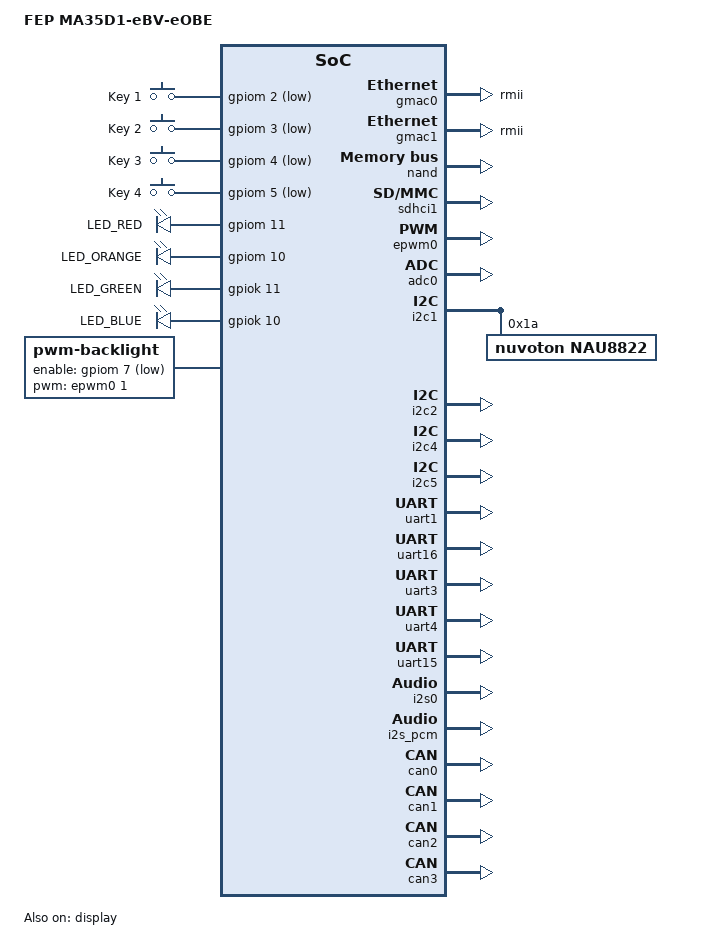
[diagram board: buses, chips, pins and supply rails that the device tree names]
/*
 * Device Tree Source for MA35D1 IoT Board
 *
 * Copyright (C) 2021 Nuvoton Technology Corp.
 *
 * The code contained herein is licensed under the GNU General Public
 * License. You may obtain a copy of the GNU General Public License
 * Version 2 or later at the following locations:
 *
 * http://www.opensource.org/licenses/gpl-license.html
 * http://www.gnu.org/copyleft/gpl.html
 */

/dts-v1/;

#include "ma35d1.dtsi"

/ {
	// model = "Nuvoton MA35D1-IoT";
	model = "FEP MA35D1-eBV-eOBE";

	chosen {
		bootargs = "root=/dev/mmcblk1p1 rootfstype=ext4 rw rootwait console=ttyS0,115200n8 rdinit=/sbin/init mem=512M";
	};

	gpio_keys_test {
		compatible = "gpio-keys";
		status = "okay";
		autorepeat;
		botton0 {
			label = "Key 1";
			linux,code = <KEY_1>;
			gpios = <&gpiom 2 GPIO_ACTIVE_LOW>;
			wakeup-source;
		};
		button1{
			label ="Key 2";
			linux,code = <KEY_2>;
			gpios = <&gpiom 3 GPIO_ACTIVE_LOW>;
			wakeup-source;
		};
		botton2 {
			label = "Key 3";
			linux,code = <KEY_3>;
			gpios = <&gpiom 4 GPIO_ACTIVE_LOW>;
			wakeup-source;
		};
		button3 {
			label ="Key 4";
			linux,code = <KEY_4>;
			gpios = <&gpiom 5 GPIO_ACTIVE_LOW>;
			wakeup-source;
		};
	};

	gpio_leds_test {
		compatible = "gpio-leds";
		status = "okay";
		led0 {
			label = "LED_RED";
			gpios = <&gpiom 11 GPIO_ACTIVE_HIGH>;
		};
		led1 {
			label = "LED_ORANGE";
			gpios = <&gpiom 10 GPIO_ACTIVE_HIGH>;
		};
		led2 {
			label = "LED_GREEN";
			gpios = <&gpiok 11 GPIO_ACTIVE_HIGH>;
		};
		led3 {
			label = "LED_BLUE";
			gpios = <&gpiok 10 GPIO_ACTIVE_HIGH>;
		};
	};

	gpio_power_control {
		status = "okay";
		wifi_power {
			gpios = <&gpion 0 GPIO_ACTIVE_LOW>;
		};
		lte_power {
			gpios = <&gpion 1 GPIO_ACTIVE_LOW>;
		};
		//pinctrl-names = "default";
		//pinctrl-0 = <&pcfg_default>;
	};

	backlight: backlight {
		compatible = "pwm-backlight";
		brightness-levels = <250 225 175 125 75 25>;
		default-brightness-level = <5>;
		pwms = <&epwm0 1 50000>;
		enable-gpios = <&gpiom 7 GPIO_ACTIVE_LOW>; // LCD_BLEn
		status = "okay";
        };

	volt0_sdhci1: regulator-volt0_sdhci1 {
		compatible = "nuvoton,ma35d1-volt";
		regulator-min-microvolt = <1800000>;
		regulator-max-microvolt = <3300000>;
		regulator-name = "volt0_sdhci1";
		regulator-always-on;
        };

	/*volt0_sdhci1: regulator-volt0_sdhci1 {
		compatible = "regulator-gpio";
		regulator-name = "volt1_sdhci1";
		regulator-min-microvolt = <1800000>;
		regulator-max-microvolt = <3300000>;
		gpios = <&gpion 11 GPIO_ACTIVE_HIGH>; // PN11
		gpios-states = <0>;
		states = <1800000 0x1 3300000 0x0>;
		enable-active-high;
		regulator-boot-on;
	};*/
};

&mem {
	device_type = "memory";
	reg = <0x00000000 0x80000000 0 0x20000000>; /* DRAM space - 1, size : 512MB DRAM */
};

/*&ccap0 {
        status = "disabled";
	port {
		// Parallel bus endpoint
		ccap0_1: endpoint {
			remote-endpoint = <&hm1055_0>;
			hsync-active = <0>;     // Active low
			vsync-active = <0>;     // Active low
			pclk-sample = <1>;      // Rising
		};
	};
};*/

/*&i2c_gpio0 {
	status = "disabled";
	hm1055@24 {
		compatible = "himax,hm1055";
		reg = <0x24>;
		pinctrl-names = "default";
		pinctrl-0 = <&pinctrl_ccap0>;
		clocks = <&clk CCAP0_GATE>;
		clock-names = "xclk";
		reset-gpios = <&gpiom 1 GPIO_ACTIVE_LOW>; // PM1
		powerdown-gpios = <&gpiok 8 GPIO_ACTIVE_HIGH>; // PK8
		port {
			hm1055_0: endpoint {
				remote-endpoint = <&ccap0_1>;
			};
		};
	};
};*/

&gmac0 {
	phy-mode = "rmii";
	pinctrl-names = "default";
	pinctrl-0 = <&pinctrl_emac0>;
	status = "okay";
};

&gmac1 {
	phy-mode = "rmii";
	pinctrl-names = "default";
	pinctrl-0 = <&pinctrl_emac1>;
	status = "okay";
};

&ehci0 {
	pinctrl-names = "default";
	pinctrl-0 = <&pinctrl_hsusbh>;
};

&usb {
	pinctrl-names = "default";
	pinctrl-0 = <&pinctrl_usb>;
};

&nand {
	status = "okay";
	pinctrl-names = "default";
	pinctrl-0 = <&pinctrl_nand>;
};

&sdhci1 {
	status = "okay";
	pinctrl-names = "default";
	pinctrl-0 = <&pinctrl_sdhci1_3_3V>;
	disable-wp;

	/*status = "okay";
	disable-wp;
	pinctrl-names = "sdhci_3V3","sdhci_1V8";
	pinctrl-0 = <&pinctrl_sdhci1_3_3V>;
	pinctrl-1 = <&pinctrl_sdhci1_1_8V>;
	vqmmc-supply = <&volt0_sdhci1>;
	power-gpios = <&gpion 14 GPIO_ACTIVE_LOW>; // PN14
	*/
};

&epwm0 {
	status = "okay";
	#pwm-cells = <2>;	
	pinctrl-names = "default";
	pinctrl-0 = <&pinctrl_epwm0>;
};

&adc0 {
	status = "okay";
	pinctrl-names = "default";
	pinctrl-0 = <&pinctrl_adc0>;
};

/*&i2c0 {
	status = "okay";
	pinctrl-names = "default";
	pinctrl-0 = <&pinctrl_i2c0>;
};*/

&i2c1 {
	status = "okay";
	pinctrl-names = "default";
	pinctrl-0 = <&pinctrl_i2c1>;

	#address-cells = <1>;
	#size-cells = <0>;
	nau8822: nau8822@1a {
		compatible = "nuvoton,nau8822";
		reg = <0x1a> ;
	};
};

&i2c2 {
	status = "okay";
	pinctrl-names = "default";
	pinctrl-0 = <&pinctrl_i2c2>;
};

&i2c4 {
	status = "okay";
	pinctrl-names = "default";
	pinctrl-0 = <&pinctrl_i2c4>;
};

&i2c5 {
	status = "okay";
	pinctrl-names = "default";
	pinctrl-0 = <&pinctrl_i2c5>;
};

&vc8k {
	status = "disabled";
};

&gc520l {
	status = "disabled";
};

&display {
	pinctrl-names = "default";
	pinctrl-0 = <&pinctrl_display0>;
	memory-region = <&display_buf>;
	status = "okay";
};

&uart1 {
	status = "okay";
	pinctrl-names = "default";
	pinctrl-0 = <&pinctrl_uart1>;
};

&uart16 {
	status = "okay";
	pinctrl-names = "default";
	pinctrl-0 = <&pinctrl_uart16>;
};

&uart3 {
	status = "okay";
	pinctrl-names = "default";
	pinctrl-0 = <&pinctrl_uart3>;
};

&uart4 {
	status = "okay";
	pinctrl-names = "default";
	pinctrl-0 = <&pinctrl_uart4>;
};

&uart15 {
	status = "okay";
	pinctrl-names = "default";
	pinctrl-0 = <&pinctrl_uart15>;
};

&i2s0 {
	status = "okay";
	pinctrl-names = "default";
	pinctrl-0 = <&pinctrl_i2s0>;
};

&i2s_pcm {
	status = "okay";
};

&sound {
	status = "okay";
};

/*&qspi0 {
	status = "disabled";
	pinctrl-names = "default";
	pinctrl-0 = <&pinctrl_qspi0>;
};*/

/*&spi0 {
	status = "disabled";
	pinctrl-names = "default";
	pinctrl-0 = <&pinctrl_spi0>;
};*/

/*&spi2 {
	status = "disabled";
	pinctrl-names = "default";
	pinctrl-0 = <&pinctrl_spi2>;
};*/

&can0 {
	status = "okay";
	pinctrl-names = "default";
	pinctrl-0 = <&pinctrl_can0>;
};

&can1 {
	status = "okay";
	pinctrl-names = "default";
	pinctrl-0 = <&pinctrl_can1>;
};

&can2 {
	status = "okay";
	pinctrl-names = "default";
	pinctrl-0 = <&pinctrl_can2>;
};

&can3 {
	status = "okay";
	pinctrl-names = "default";
	pinctrl-0 = <&pinctrl_can3>;
};

&pinctrl {
	gmac0 {
		pinctrl_gmac0: gmac0grp{
			nuvoton,pins =
				<SYS_GPE_MFPL_PE0MFP_RGMII0_MDC		&pcfg_emac_1_8V>,
				<SYS_GPE_MFPL_PE1MFP_RGMII0_MDIO	&pcfg_emac_1_8V>,
				<SYS_GPE_MFPL_PE2MFP_RGMII0_TXCTL	&pcfg_emac_1_8V>,
				<SYS_GPE_MFPL_PE3MFP_RGMII0_TXD0	&pcfg_emac_1_8V>,
				<SYS_GPE_MFPL_PE4MFP_RGMII0_TXD1	&pcfg_emac_1_8V>,
				<SYS_GPE_MFPL_PE5MFP_RGMII0_RXCLK	&pcfg_emac_1_8V>,
				<SYS_GPE_MFPL_PE6MFP_RGMII0_RXCTL	&pcfg_emac_1_8V>,
				<SYS_GPE_MFPL_PE7MFP_RGMII0_RXD0	&pcfg_emac_1_8V>,
				<SYS_GPE_MFPH_PE8MFP_RGMII0_RXD1	&pcfg_emac_1_8V>,
				<SYS_GPE_MFPH_PE9MFP_RGMII0_RXD2	&pcfg_emac_1_8V>,
				<SYS_GPE_MFPH_PE10MFP_RGMII0_RXD3	&pcfg_emac_1_8V>,
				<SYS_GPE_MFPH_PE11MFP_RGMII0_TXCLK	&pcfg_emac_1_8V>,
				<SYS_GPE_MFPH_PE12MFP_RGMII0_TXD2	&pcfg_emac_1_8V>,
				<SYS_GPE_MFPH_PE13MFP_RGMII0_TXD3	&pcfg_emac_1_8V>;
		};

		pinctrl_emac0: emac0grp{
			nuvoton,pins =
				<SYS_GPE_MFPL_PE0MFP_RMII0_MDC		&pcfg_emac_3_3V>,
				<SYS_GPE_MFPL_PE1MFP_RMII0_MDIO		&pcfg_emac_3_3V>,
				<SYS_GPE_MFPL_PE2MFP_RMII0_TXEN		&pcfg_emac_3_3V>,
				<SYS_GPE_MFPL_PE3MFP_RMII0_TXD0		&pcfg_emac_3_3V>,
				<SYS_GPE_MFPL_PE4MFP_RMII0_TXD1		&pcfg_emac_3_3V>,
				<SYS_GPE_MFPL_PE5MFP_RMII0_REFCLK	&pcfg_emac_3_3V>,
				<SYS_GPE_MFPL_PE6MFP_RMII0_CRSDV	&pcfg_emac_3_3V>,
				<SYS_GPE_MFPL_PE7MFP_RMII0_RXD0		&pcfg_emac_3_3V>,
				<SYS_GPE_MFPH_PE8MFP_RMII0_RXD1		&pcfg_emac_3_3V>,
				<SYS_GPE_MFPH_PE9MFP_RMII0_RXERR	&pcfg_emac_3_3V>;
		};		
	};

	gmac1 {
		pinctrl_gmac1: gmac1grp{
			nuvoton,pins =
				<SYS_GPF_MFPL_PF0MFP_RMII1_MDC		&pcfg_emac_3_3V>,
				<SYS_GPF_MFPL_PF1MFP_RMII1_MDIO		&pcfg_emac_3_3V>,
				<SYS_GPF_MFPL_PF2MFP_RMII1_TXEN		&pcfg_emac_3_3V>,
				<SYS_GPF_MFPL_PF3MFP_RMII1_TXD0		&pcfg_emac_3_3V>,
				<SYS_GPF_MFPL_PF4MFP_RMII1_TXD1		&pcfg_emac_3_3V>,
				<SYS_GPF_MFPL_PF5MFP_RMII1_REFCLK	&pcfg_emac_3_3V>,
				<SYS_GPF_MFPL_PF6MFP_RMII1_CRSDV	&pcfg_emac_3_3V>,
				<SYS_GPF_MFPL_PF7MFP_RMII1_RXD0		&pcfg_emac_3_3V>,
				<SYS_GPF_MFPH_PF8MFP_RMII1_RXD1		&pcfg_emac_3_3V>,
				<SYS_GPF_MFPH_PF9MFP_RMII1_RXERR	&pcfg_emac_3_3V>;
		};

		pinctrl_emac1: emac1grp{
			nuvoton,pins =
				<SYS_GPF_MFPL_PF0MFP_RMII1_MDC		&pcfg_emac_3_3V>,
				<SYS_GPF_MFPL_PF1MFP_RMII1_MDIO		&pcfg_emac_3_3V>,
				<SYS_GPF_MFPL_PF2MFP_RMII1_TXEN		&pcfg_emac_3_3V>,
				<SYS_GPF_MFPL_PF3MFP_RMII1_TXD0		&pcfg_emac_3_3V>,
				<SYS_GPF_MFPL_PF4MFP_RMII1_TXD1		&pcfg_emac_3_3V>,
				<SYS_GPF_MFPL_PF5MFP_RMII1_REFCLK	&pcfg_emac_3_3V>,
				<SYS_GPF_MFPL_PF6MFP_RMII1_CRSDV	&pcfg_emac_3_3V>,
				<SYS_GPF_MFPL_PF7MFP_RMII1_RXD0		&pcfg_emac_3_3V>,
				<SYS_GPF_MFPH_PF8MFP_RMII1_RXD1		&pcfg_emac_3_3V>,
				<SYS_GPF_MFPH_PF9MFP_RMII1_RXERR	&pcfg_emac_3_3V>;
		};
	};

	hsusbh {
		pinctrl_hsusbh: hsusbhgrp{
			nuvoton,pins =
                //< SYS_GPL_MFPH_PL12MFP_GPIO &pcfg_default>,
                //< SYS_GPL_MFPH_PL13MFP_GPIO &pcfg_default>;			
				<SYS_GPL_MFPH_PL12MFP_HSUSBH_PWREN	&pcfg_default>,
				<SYS_GPL_MFPH_PL13MFP_HSUSBH_OVC	&pcfg_default>;
		};
	};

	/*wifipower0 {
		pinctrl_wifipower0: wifipower0grp {
			nuvoton,pins =
				<SYS_GPN_MFPL_PN0MFP_GPIO	&pcfg_default>;
		};
	};*/

	adc0 {
		pinctrl_adc0: adc0grp {
			nuvoton,pins =
				<SYS_GPB_MFPH_PB8MFP_ADC0_CH0	&pcfg_default>;

				/*<SYS_GPB_MFPH_PB10MFP_ADC0_CH2	&pcfg_default>,
				<SYS_GPB_MFPH_PB11MFP_ADC0_CH3	&pcfg_default>,
				<SYS_GPB_MFPH_PB12MFP_ADC0_CH4	&pcfg_default>,
				<SYS_GPB_MFPH_PB13MFP_ADC0_CH5	&pcfg_default>,
				<SYS_GPB_MFPH_PB14MFP_ADC0_CH6	&pcfg_default>,
				<SYS_GPB_MFPH_PB15MFP_ADC0_CH7	&pcfg_default>;*/
		};
	};

	epwm0 {
		pinctrl_epwm0: epwm0grp{
			nuvoton,pins =
				<SYS_GPL_MFPH_PL15MFP_EPWM0_CH1	&pcfg_default>;
		};
	};

	/*i2c0 {
		pinctrl_i2c0: i2c0grp{
			nuvoton,pins =
				<SYS_GPM_MFPH_PM8MFP_I2C0_SDA	&pcfg_default>,
				<SYS_GPM_MFPH_PM9MFP_I2C0_SCL	&pcfg_default>;
		};
	};*/

	i2c1 {
		pinctrl_i2c1: i2c1grp{
			nuvoton,pins =
				<SYS_GPN_MFPL_PN4MFP_I2C1_SDA	&pcfg_default>,
				<SYS_GPN_MFPL_PN5MFP_I2C1_SCL	&pcfg_default>;
		};
	};

	i2c2 {
		pinctrl_i2c2: i2c2grp{
			nuvoton,pins =
				<SYS_GPD_MFPL_PD4MFP_I2C2_SDA    &pcfg_default>,
				<SYS_GPD_MFPL_PD5MFP_I2C2_SCL    &pcfg_default>;
		};
	};


	i2c4 {
		pinctrl_i2c4: i2c4grp{
			nuvoton,pins =
				<SYS_GPC_MFPL_PC0MFP_I2C4_SDA	&pcfg_default>,
				<SYS_GPC_MFPL_PC1MFP_I2C4_SCL	&pcfg_default>;
		};
	};

	i2c5 {
		pinctrl_i2c5: i2c5grp{
			nuvoton,pins =
				<SYS_GPC_MFPL_PC4MFP_I2C5_SDA	&pcfg_default>,
				<SYS_GPC_MFPL_PC5MFP_I2C5_SCL	&pcfg_default>;
		};
	};

	display {
		pinctrl_display0: display0grp{
			nuvoton,pins =
				<SYS_GPG_MFPH_PG8MFP_LCM_VSYNC		&pcfg_default>,
				<SYS_GPG_MFPH_PG9MFP_LCM_HSYNC		&pcfg_default>,
				<SYS_GPG_MFPH_PG10MFP_LCM_CLK		&pcfg_default>,
				<SYS_GPK_MFPL_PK4MFP_LCM_DEN		&pcfg_default>,
				<SYS_GPI_MFPH_PI8MFP_LCM_DATA0		&pcfg_default>,
				<SYS_GPI_MFPH_PI9MFP_LCM_DATA1		&pcfg_default>,
				<SYS_GPI_MFPH_PI10MFP_LCM_DATA2		&pcfg_default>,
				<SYS_GPI_MFPH_PI11MFP_LCM_DATA3		&pcfg_default>,
				<SYS_GPI_MFPH_PI12MFP_LCM_DATA4		&pcfg_default>,
				<SYS_GPI_MFPH_PI13MFP_LCM_DATA5		&pcfg_default>,
				<SYS_GPI_MFPH_PI14MFP_LCM_DATA6		&pcfg_default>,
				<SYS_GPI_MFPH_PI15MFP_LCM_DATA7		&pcfg_default>,
				<SYS_GPH_MFPL_PH0MFP_LCM_DATA8		&pcfg_default>,
				<SYS_GPH_MFPL_PH1MFP_LCM_DATA9		&pcfg_default>,
				<SYS_GPH_MFPL_PH2MFP_LCM_DATA10		&pcfg_default>,
				<SYS_GPH_MFPL_PH3MFP_LCM_DATA11		&pcfg_default>,
				<SYS_GPH_MFPL_PH4MFP_LCM_DATA12		&pcfg_default>,
				<SYS_GPH_MFPL_PH5MFP_LCM_DATA13		&pcfg_default>,
				<SYS_GPH_MFPL_PH6MFP_LCM_DATA14		&pcfg_default>,
				<SYS_GPH_MFPL_PH7MFP_LCM_DATA15		&pcfg_default>,
				<SYS_GPC_MFPH_PC12MFP_LCM_DATA16	&pcfg_default>,
				<SYS_GPC_MFPH_PC13MFP_LCM_DATA17	&pcfg_default>,
				<SYS_GPC_MFPH_PC14MFP_LCM_DATA18	&pcfg_default>,
				<SYS_GPC_MFPH_PC15MFP_LCM_DATA19	&pcfg_default>,
				<SYS_GPH_MFPH_PH12MFP_LCM_DATA20	&pcfg_default>,
				<SYS_GPH_MFPH_PH13MFP_LCM_DATA21	&pcfg_default>,
				<SYS_GPH_MFPH_PH14MFP_LCM_DATA22	&pcfg_default>,
				<SYS_GPH_MFPH_PH15MFP_LCM_DATA23	&pcfg_default>;
		};
	};	

	uart1 {		// RS232_0, PwrCtrl=PG4
		pinctrl_uart1: uart1grp{
			nuvoton,pins =
				<SYS_GPG_MFPL_PG4MFP_GPIO	&pcfg_default>,
				<SYS_GPD_MFPL_PD6MFP_UART1_RXD	&pcfg_default>,
				<SYS_GPD_MFPL_PD7MFP_UART1_TXD	&pcfg_default>;
		};
	};

	uart16 {	// RS232_1, PwrCtrl=PG5
		pinctrl_uart16: uart16grp{
			nuvoton,pins =
				<SYS_GPG_MFPL_PG5MFP_GPIO	&pcfg_default>,
				<SYS_GPD_MFPH_PD10MFP_UART16_RXD	&pcfg_default>,
				<SYS_GPD_MFPH_PD11MFP_UART16_TXD	&pcfg_default>;
		};
	};

	uart3 {		// RS232_2, PwrCtrl=PG6
		pinctrl_uart3: uart3grp{
			nuvoton,pins =
				<SYS_GPG_MFPL_PG6MFP_GPIO	&pcfg_default>,
				<SYS_GPD_MFPL_PD0MFP_UART3_nCTS	&pcfg_default>,
				<SYS_GPD_MFPL_PD1MFP_UART3_nRTS	&pcfg_default>,
				<SYS_GPD_MFPL_PD2MFP_UART3_RXD	&pcfg_default>,
				<SYS_GPD_MFPL_PD3MFP_UART3_TXD	&pcfg_default>;
		};
	};

	uart4 {		// RS232_3, PwrCtrl=PG7
		pinctrl_uart4: uart4grp{
			nuvoton,pins =
				<SYS_GPG_MFPL_PG7MFP_GPIO        &pcfg_default>,
				<SYS_GPB_MFPH_PB12MFP_UART4_nCTS &pcfg_default>,
				<SYS_GPB_MFPH_PB13MFP_UART4_nRTS	&pcfg_default>,
				<SYS_GPB_MFPH_PB14MFP_UART4_RXD	&pcfg_default>,
				<SYS_GPB_MFPH_PB15MFP_UART4_TXD	&pcfg_default>;
		};
	};

	uart15 {	// RS485_3, DE=PJ4
		pinctrl_uart15: uart15grp{
			nuvoton,pins =
				<SYS_GPJ_MFPL_PJ4MFP_GPIO	&pcfg_default>,
				<SYS_GPD_MFPH_PD8MFP_UART15_RXD	&pcfg_default>,
				<SYS_GPD_MFPH_PD9MFP_UART15_TXD	&pcfg_default>;
		};
	};

	i2s0 {
		pinctrl_i2s0: i2s0grp{
			nuvoton,pins =
				<SYS_GPG_MFPH_PG11MFP_I2S0_MCLK	&pcfg_default>,
				<SYS_GPG_MFPH_PG12MFP_I2S0_LRCK	&pcfg_default>,
				<SYS_GPG_MFPH_PG13MFP_I2S0_BCLK	&pcfg_default>,
				<SYS_GPG_MFPH_PG14MFP_I2S0_DI	&pcfg_default>,
				<SYS_GPG_MFPH_PG15MFP_I2S0_DO	&pcfg_default>;
				/*<SYS_GPN_MFPH_PN15MFP_I2S0_MCLK	&pcfg_default>,
				<SYS_GPK_MFPH_PK12MFP_I2S0_LRCK	&pcfg_default>,
				<SYS_GPK_MFPH_PK13MFP_I2S0_BCLK	&pcfg_default>,
				<SYS_GPK_MFPH_PK14MFP_I2S0_DI	&pcfg_default>,
				<SYS_GPK_MFPH_PK15MFP_I2S0_DO	&pcfg_default>;*/
		};
	};

	/*qspi0 {
		pinctrl_qspi0: qspi0grp{
			nuvoton,pins =
				<SYS_GPD_MFPL_PD0MFP_QSPI0_SS0		&pcfg_default>,
				<SYS_GPD_MFPL_PD1MFP_QSPI0_CLK		&pcfg_default>,
				<SYS_GPD_MFPL_PD2MFP_QSPI0_MOSI0	&pcfg_default>,
				<SYS_GPD_MFPL_PD3MFP_QSPI0_MISO0	&pcfg_default>,
				<SYS_GPD_MFPL_PD4MFP_QSPI0_MOSI1	&pcfg_default>,
				<SYS_GPD_MFPL_PD5MFP_QSPI0_MISO1	&pcfg_default>;
		};
	};*/

	/*spi0 {
		pinctrl_spi0: spi0grp{
			nuvoton,pins =
				<SYS_GPG_MFPL_PG0MFP_SPI0_SS0    &pcfg_default>,
				<SYS_GPB_MFPH_PB8MFP_SPI0_SS1    &pcfg_default>,
				<SYS_GPB_MFPH_PB9MFP_SPI0_CLK    &pcfg_default>,
				<SYS_GPL_MFPH_PL14MFP_SPI0_MOSI    &pcfg_default>,
				<SYS_GPL_MFPH_PL15MFP_SPI0_MISO    &pcfg_default>;
		};
	};*/

	/*spi2 {
		pinctrl_spi2: spi2grp{
			nuvoton,pins =
				<SYS_GPG_MFPH_PG8MFP_SPI2_SS0	&pcfg_default>,
				<SYS_GPG_MFPH_PG9MFP_SPI2_CLK	&pcfg_default>,
				<SYS_GPG_MFPH_PG10MFP_SPI2_MOSI	&pcfg_default>,
				<SYS_GPK_MFPL_PK4MFP_SPI2_MISO	&pcfg_default>;
		};
	};*/

	can0 {
		pinctrl_can0: can0grp{
			nuvoton,pins =
				<SYS_GPN_MFPL_PN2MFP_CAN0_RXD	&pcfg_default>,
				<SYS_GPN_MFPL_PN3MFP_CAN0_TXD	&pcfg_default>;
		};
	};

	can1 {
		pinctrl_can1: can1grp{
			nuvoton,pins =
				<SYS_GPN_MFPL_PN6MFP_CAN1_RXD	&pcfg_default>,
				<SYS_GPN_MFPL_PN7MFP_CAN1_TXD	&pcfg_default>;
		};
	};

	can2 {
		pinctrl_can2: can2grp{
			nuvoton,pins =
				<SYS_GPN_MFPH_PN10MFP_CAN2_RXD	&pcfg_default>,
				<SYS_GPN_MFPH_PN11MFP_CAN2_TXD	&pcfg_default>;
		};
	};

	can3 {
		pinctrl_can3: can3grp{
			nuvoton,pins =
				<SYS_GPN_MFPH_PN14MFP_CAN3_RXD	&pcfg_default>,
				<SYS_GPN_MFPH_PN15MFP_CAN3_TXD	&pcfg_default>;
		};
	};

	usb {
		pinctrl_usb: usbgrp{
			nuvoton,pins =
				<SYS_GPF_MFPH_PF15MFP_HSUSB0_VBUSVLD	&pcfg_default>;
		};
	};

	nand {
		pinctrl_nand: nandgrp{
			nuvoton,pins =
				<SYS_GPA_MFPL_PA0MFP_NAND_DATA0	&pcfg_default>,
				<SYS_GPA_MFPL_PA1MFP_NAND_DATA1	&pcfg_default>,
				<SYS_GPA_MFPL_PA2MFP_NAND_DATA2	&pcfg_default>,
				<SYS_GPA_MFPL_PA3MFP_NAND_DATA3	&pcfg_default>,
				<SYS_GPA_MFPL_PA4MFP_NAND_DATA4	&pcfg_default>,
				<SYS_GPA_MFPL_PA5MFP_NAND_DATA5	&pcfg_default>,
				<SYS_GPA_MFPL_PA6MFP_NAND_DATA6	&pcfg_default>,
				<SYS_GPA_MFPL_PA7MFP_NAND_DATA7	&pcfg_default>,
				<SYS_GPA_MFPH_PA8MFP_NAND_RDY	&pcfg_default>,
				<SYS_GPA_MFPH_PA9MFP_NAND_nRE	&pcfg_default>,
				<SYS_GPA_MFPH_PA10MFP_NAND_nWE	&pcfg_default>,
				<SYS_GPA_MFPH_PA11MFP_NAND_CLE	&pcfg_default>,
				<SYS_GPA_MFPH_PA12MFP_NAND_ALE	&pcfg_default>,
				<SYS_GPA_MFPH_PA13MFP_NAND_nCS	&pcfg_default>,
				<SYS_GPA_MFPH_PA14MFP_NAND_nWP	&pcfg_default>;
		};
	};

	sdhci1 {
		pinctrl_sdhci1_3_3V: sdhci1_3_3Vgrp{
			nuvoton,pins =
				<SYS_GPJ_MFPL_PJ5MFP_SD1_nCD	&pcfg_default>,
				<SYS_GPJ_MFPL_PJ6MFP_SD1_CMD	&pcfg_sdhci_drive2_3_3V>,
				<SYS_GPJ_MFPL_PJ7MFP_SD1_CLK	&pcfg_sdhci_drive2_3_3V>,
				<SYS_GPJ_MFPH_PJ8MFP_SD1_DAT0	&pcfg_sdhci_drive2_3_3V>,
				<SYS_GPJ_MFPH_PJ9MFP_SD1_DAT1	&pcfg_sdhci_drive2_3_3V>,
				<SYS_GPJ_MFPH_PJ10MFP_SD1_DAT2	&pcfg_sdhci_drive2_3_3V>,
				<SYS_GPJ_MFPH_PJ11MFP_SD1_DAT3	&pcfg_sdhci_drive2_3_3V>;
		};

		/*pinctrl_sdhci1_1_8V: sdhci1_1_8Vgrp{
			nuvoton,pins =
				<SYS_GPJ_MFPL_PJ5MFP_SD1_nCD	&pcfg_default>,
				<SYS_GPJ_MFPL_PJ6MFP_SD1_CMD	&pcfg_sdhci_drive4_1_8V>,
				<SYS_GPJ_MFPL_PJ7MFP_SD1_CLK	&pcfg_sdhci_drive7_1_8V>,
				<SYS_GPJ_MFPH_PJ8MFP_SD1_DAT0	&pcfg_sdhci_drive1_1_8V>,
				<SYS_GPJ_MFPH_PJ9MFP_SD1_DAT1	&pcfg_sdhci_drive1_1_8V>,
				<SYS_GPJ_MFPH_PJ10MFP_SD1_DAT2	&pcfg_sdhci_drive1_1_8V>,
				<SYS_GPJ_MFPH_PJ11MFP_SD1_DAT3	&pcfg_sdhci_drive1_1_8V>;
		};*/
	};

	/*ccap0 {
		pinctrl_ccap0: ccap0grp{
			nuvoton,pins =
				<SYS_GPK_MFPH_PK9MFP_CCAP0_SCLK		&pcfg_default>,
				<SYS_GPK_MFPH_PK10MFP_CCAP0_PIXCLK	&pcfg_default>,
				<SYS_GPK_MFPH_PK11MFP_CCAP0_HSYNC	&pcfg_default>,
				<SYS_GPM_MFPL_PM0MFP_CCAP0_VSYNC	&pcfg_default>,
				<SYS_GPM_MFPL_PM2MFP_CCAP0_DATA0	&pcfg_default>,
				<SYS_GPM_MFPL_PM3MFP_CCAP0_DATA1	&pcfg_default>,
				<SYS_GPM_MFPL_PM4MFP_CCAP0_DATA2	&pcfg_default>,
				<SYS_GPM_MFPL_PM5MFP_CCAP0_DATA3	&pcfg_default>,
				<SYS_GPM_MFPL_PM6MFP_CCAP0_DATA4	&pcfg_default>,
				<SYS_GPM_MFPL_PM7MFP_CCAP0_DATA5	&pcfg_default>,
				<SYS_GPM_MFPH_PM8MFP_CCAP0_DATA6	&pcfg_default>,
				<SYS_GPM_MFPH_PM9MFP_CCAP0_DATA7	&pcfg_default>;
		};
	};*/
};
